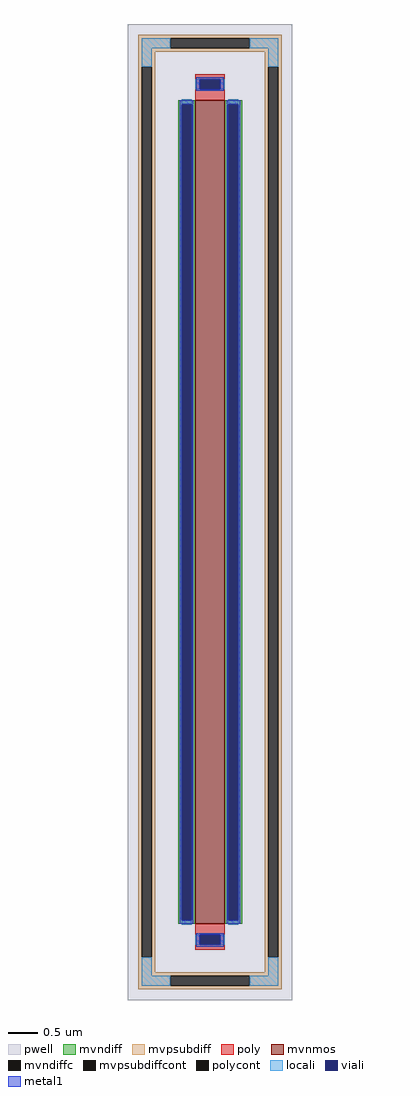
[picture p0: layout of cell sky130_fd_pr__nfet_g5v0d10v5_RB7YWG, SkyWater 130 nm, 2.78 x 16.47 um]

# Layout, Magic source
magic
tech sky130A
magscale 1 2
<< pwell >>
rect -278 -1647 278 1647
<< mvnmos >>
rect -50 -1389 50 1389
<< mvndiff >>
rect -108 1377 -50 1389
rect -108 -1377 -96 1377
rect -62 -1377 -50 1377
rect -108 -1389 -50 -1377
rect 50 1377 108 1389
rect 50 -1377 62 1377
rect 96 -1377 108 1377
rect 50 -1389 108 -1377
<< mvndiffc >>
rect -96 -1377 -62 1377
rect 62 -1377 96 1377
<< mvpsubdiff >>
rect -242 1599 242 1611
rect -242 1565 -134 1599
rect 134 1565 242 1599
rect -242 1553 242 1565
rect -242 1503 -184 1553
rect -242 -1503 -230 1503
rect -196 -1503 -184 1503
rect 184 1503 242 1553
rect -242 -1553 -184 -1503
rect 184 -1503 196 1503
rect 230 -1503 242 1503
rect 184 -1553 242 -1503
rect -242 -1565 242 -1553
rect -242 -1599 -134 -1565
rect 134 -1599 242 -1565
rect -242 -1611 242 -1599
<< mvpsubdiffcont >>
rect -134 1565 134 1599
rect -230 -1503 -196 1503
rect 196 -1503 230 1503
rect -134 -1599 134 -1565
<< poly >>
rect -50 1461 50 1477
rect -50 1427 -34 1461
rect 34 1427 50 1461
rect -50 1389 50 1427
rect -50 -1427 50 -1389
rect -50 -1461 -34 -1427
rect 34 -1461 50 -1427
rect -50 -1477 50 -1461
<< polycont >>
rect -34 1427 34 1461
rect -34 -1461 34 -1427
<< locali >>
rect -230 1565 -134 1599
rect 134 1565 230 1599
rect -230 1503 -196 1565
rect 196 1503 230 1565
rect -50 1427 -34 1461
rect 34 1427 50 1461
rect -96 1377 -62 1393
rect -96 -1393 -62 -1377
rect 62 1377 96 1393
rect 62 -1393 96 -1377
rect -50 -1461 -34 -1427
rect 34 -1461 50 -1427
rect -230 -1565 -196 -1503
rect 196 -1565 230 -1503
rect -230 -1599 -134 -1565
rect 134 -1599 230 -1565
<< viali >>
rect -34 1427 34 1461
rect -96 -1377 -62 1377
rect 62 -1377 96 1377
rect -34 -1461 34 -1427
<< metal1 >>
rect -46 1461 46 1467
rect -46 1427 -34 1461
rect 34 1427 46 1461
rect -46 1421 46 1427
rect -102 1377 -56 1389
rect -102 -1377 -96 1377
rect -62 -1377 -56 1377
rect -102 -1389 -56 -1377
rect 56 1377 102 1389
rect 56 -1377 62 1377
rect 96 -1377 102 1377
rect 56 -1389 102 -1377
rect -46 -1427 46 -1421
rect -46 -1461 -34 -1427
rect 34 -1461 46 -1427
rect -46 -1467 46 -1461
<< properties >>
string FIXED_BBOX -213 -1582 213 1582
string gencell sky130_fd_pr__nfet_g5v0d10v5
string library sky130
string parameters w 13.89 l 0.5 m 1 nf 1 diffcov 100 polycov 100 guard 1 glc 1 grc 1 gtc 1 gbc 1 tbcov 100 rlcov 100 topc 1 botc 1 poverlap 0 doverlap 1 lmin 0.50 wmin 0.42 compatible {sky130_fd_pr__nfet_01v8 sky130_fd_pr__nfet_01v8_lvt  sky130_fd_bs_flash__special_sonosfet_star  sky130_fd_pr__nfet_g5v0d10v5 sky130_fd_pr__nfet_05v0_nvt  sky130_fd_pr__nfet_03v3_nvt} full_metal 1 viasrc 100 viadrn 100 viagate 100 viagb 0 viagr 0 viagl 0 viagt 0
<< end >>
